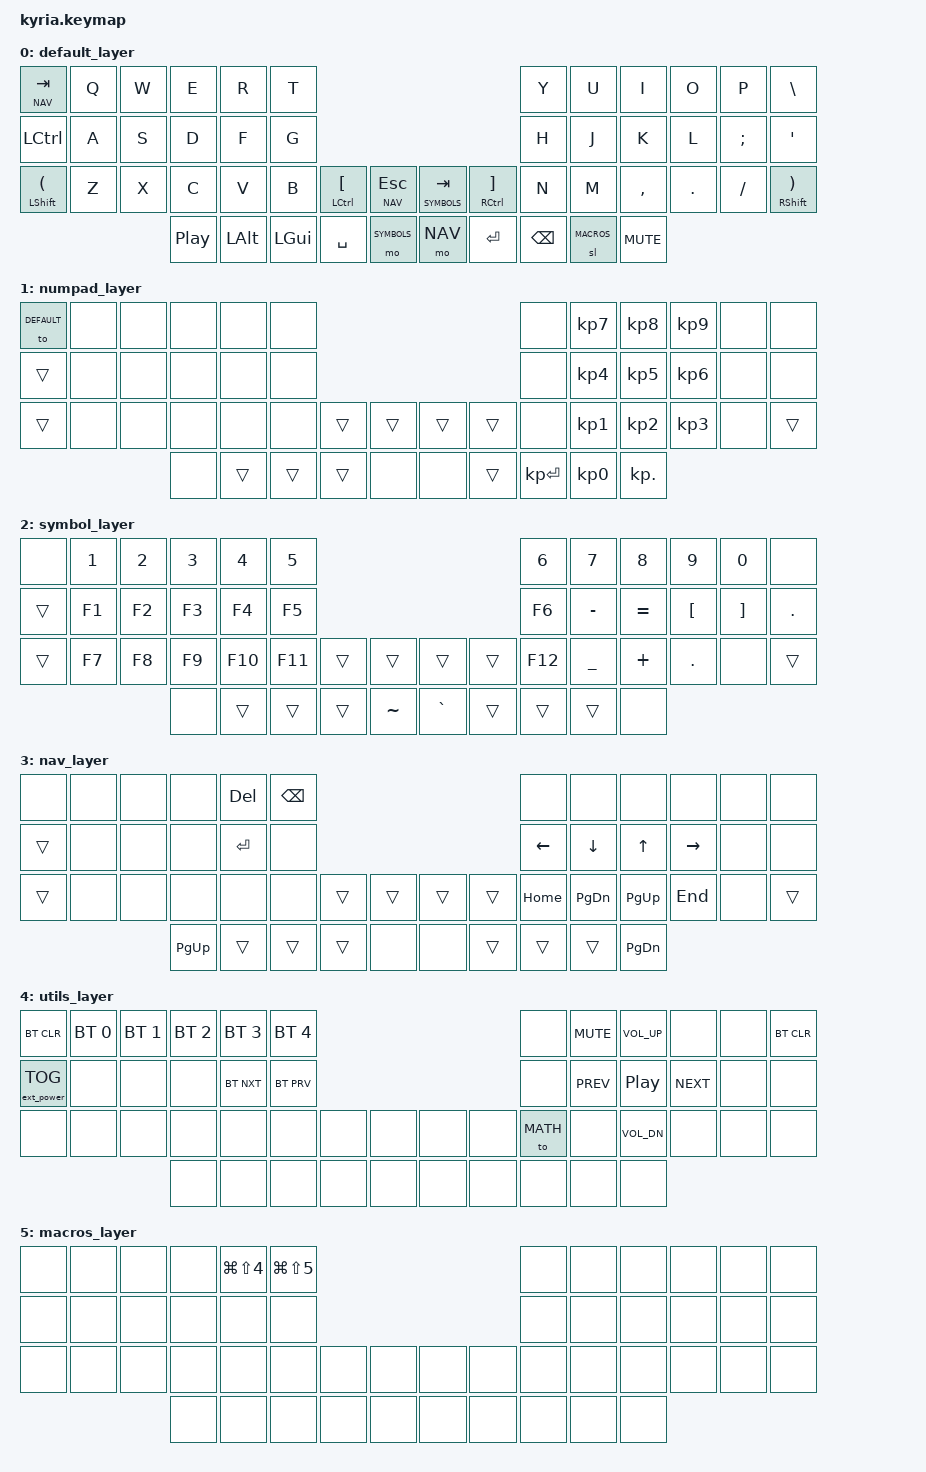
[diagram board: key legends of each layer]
/*
 * Copyright (c) 2020 The ZMK Contributors
 *
 * SPDX-License-Identifier: MIT
 */

#include <behaviors.dtsi>
#include <dt-bindings/zmk/keys.h>
#include <dt-bindings/zmk/bt.h>
#include <dt-bindings/zmk/ext_power.h>

#define DEFAULT 0
#define MATH    1
#define SYMBOLS 2
#define NAV     3
#define UTIL    4
#define MACROS  5

// Sticky layer config. Release automatically after 5 seconds
&sl {
  release-after-ms = <5000>;
};

// Encoder resolutions. Make the spin happen faster.
&left_encoder   { resolution = <2>; };
&right_encoder  { resolution = <2>; };

// Aliases.

// None/Trans
#define _____ &none
#define t____ &trans

/ {
  keymap {
    compatible = "zmk,keymap";

    default_layer {
      bindings = <
        &lt NAV TAB     &kp Q &kp W &kp E    &kp R    &kp T                                                               &kp Y    &kp U      &kp I     &kp O    &kp P    &kp BSLH
        &kp LCTL        &kp A &kp S &kp D    &kp F    &kp G                                                               &kp H    &kp J      &kp K     &kp L    &kp SEMI &kp SQT
        &mt LSHIFT LPAR &kp Z &kp X &kp C    &kp V    &kp B    &mt LCTL LBKT &lt NAV ESC    &lt SYMBOLS TAB &mt RCTL RBKT &kp N    &kp M      &kp COMMA &kp DOT  &kp FSLH &mt RSHIFT RPAR
                                    &kp C_PP &kp LALT &kp LGUI &kp SPACE     &mo SYMBOLS    &mo NAV         &kp RET       &kp BSPC &sl MACROS &kp C_MUTE
      >;

      /*sensor-bindings = <&inc_dec_kp C_VOL_DN C_VOL_UP &inc_dec_kp LC(TAB) LC(LS(TAB))>;*/
    };

    // Math
    numpad_layer {
      bindings = <
        &to DEFAULT _____ _____ _____ _____ _____                             _____        &kp KP_N7 &kp KP_N8 &kp KP_N9 _____ _____
        t____       _____ _____ _____ _____ _____                             _____        &kp KP_N4 &kp KP_N5 &kp KP_N6 _____ _____
        t____       _____ _____ _____ _____ _____ t____ t____     t____ t____ _____        &kp KP_N1 &kp KP_N2 &kp KP_N3 _____ t____
                                _____ t____ t____ t____ _____     _____ t____ &kp KP_ENTER &kp KP_N0 &kp KP_DOT
      >;
    };

    // Symbols
    symbol_layer {
      bindings = <
        _____ &kp N1 &kp N2  &kp N3  &kp N4  &kp N5                                       &kp N6  &kp N7    &kp N8    &kp N9   &kp N0   _____
        t____ &kp F1 &kp F2  &kp F3  &kp F4  &kp F5                                       &kp F6  &kp MINUS &kp EQUAL &kp LBKT &kp RBKT &kp DOT
        t____ &kp F7 &kp F8  &kp F9  &kp F10 &kp F11 t____ t____          t____     t____ &kp F12 &kp UNDER &kp PLUS  &kp DOT  _____    t____
                             _____   t____   t____   t____ &kp TILDE      &kp GRAVE t____ t____   t____     _____
      >;
    };

    // Navigation
    nav_layer {
      /* XXXXXXX, XXXXXXX, KC_BTN2, KC_BTN1, KC_DEL,  KC_BSPC,                                     KC_MS_L, KC_MS_D, KC_MS_U, KC_MS_R, XXXXXXX, XXXXXXX, */
      /* _______, XXXXXXX, XXXXXXX, XXXXXXX, KC_ENT,  XXXXXXX,                                     KC_LEFT, KC_DOWN, KC_UP,   KC_RGHT, XXXXXXX, XXXXXXX, */
      /* _______, XXXXXXX, XXXXXXX, XXXXXXX, XXXXXXX, XXXXXXX, _______, _______, _______, _______, KC_HOME, KC_PGDN, KC_PGUP, KC_END,  XXXXXXX, _______, */
      /*                            KC_PGUP, _______, _______, _______, XXXXXXX, XXXXXXX, _______, _______, _______, KC_PGDN */
      // Mouse support is missing from the above one (QMK format).
      bindings = <
        _____ _____ _____ _____     &kp DEL &kp BSPC                           _____    _____     _____     _____     _____ _____
        t____ _____ _____ _____     &kp RET _____                              &kp LEFT &kp DOWN  &kp UP    &kp RIGHT _____ _____
        t____ _____ _____ _____     _____   _____ t____ t____      t____ t____ &kp HOME &kp PG_DN &kp PG_UP &kp END   _____ t____
                          &kp PG_UP t____   t____ t____ _____      _____ t____ t____    t____     &kp PG_DN
      >;
    };

    // Utils
    utils_layer {
        /* _____ _____           _____           _____           _____           _____                                        _____    &kp C_MUTE &kp C_VOL_UP _____      _____ _____ */
        /* _____ &rgb_ug RGB_TOG &rgb_ug RGB_SAI &rgb_ug RGB_HUI &rgb_ug RGB_BRI &rgb_ug RGB_EFF                              _____    &kp C_PREV &kp C_PP     &kp C_NEXT _____ _____ */
        /* _____ _____           &rgb_ug RGB_SAD &rgb_ug RGB_HUD &rgb_ug RGB_BRD &rgb_ug RGB_EFR _____ _____      _____ _____ &to MATH _____      &kp C_VOL_DN _____      _____ _____ */
        /*                                               _____       _____       _____           _____ _____      _____ _____ _____    _____      _____ */
      bindings = <
        &bt BT_CLR        &bt BT_SEL 0 &bt BT_SEL 1 &bt BT_SEL 2 &bt BT_SEL 3 &bt BT_SEL 4                       _____    &kp C_MUTE &kp C_VOL_UP _____      _____ &bt BT_CLR
        &ext_power EP_TOG _____        _____        _____        &bt BT_NXT   &bt BT_PRV                         _____    &kp C_PREV &kp C_PP     &kp C_NEXT _____ _____
        _____             _____        _____        _____        _____        _____ _____ _____      _____ _____ &to MATH _____      &kp C_VOL_DN _____      _____ _____
                                                    _____        _____        _____ _____ _____      _____ _____ _____    _____      _____
      >;
    };

    // Macros
    macros_layer {
      bindings = <
        _____ _____ _____ _____ &kp LG(LS(N4)) &kp LG(LS(N5))                      _____ _____ _____ _____ _____ _____
        _____ _____ _____ _____ _____          _____                               _____ _____ _____ _____ _____ _____
        _____ _____ _____ _____ _____          _____ _____ _____       _____ _____ _____ _____ _____ _____ _____ _____
                          _____ _____          _____ _____ _____       _____ _____ _____ _____ _____
      >;
    };
  };

  conditional_layers {
    compatible = "zmk,conditional-layers";

    utils_layer {
      if-layers = <NAV SYMBOLS>;
      then-layer = <UTIL>;
    };
  };
};
